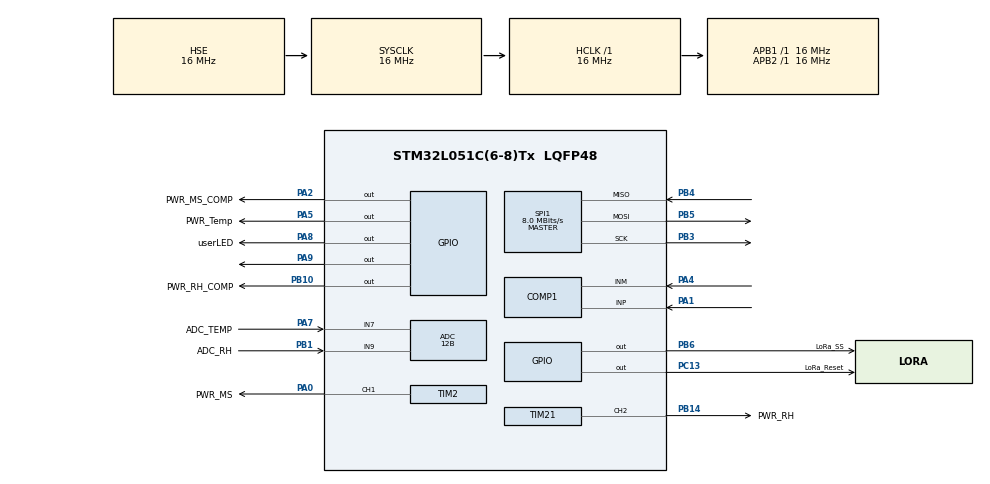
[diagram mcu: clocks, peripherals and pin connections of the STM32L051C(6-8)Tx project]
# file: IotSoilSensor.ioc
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ADC.ClockPrescaler=ADC_CLOCK_SYNC_PCLK_DIV1
ADC.ContinuousConvMode=DISABLE
ADC.DMAContinuousRequests=DISABLE
ADC.DataAlign=ADC_DATAALIGN_RIGHT
ADC.DiscontinuousConvMode=DISABLE
ADC.EOCSelection=ADC_EOC_SINGLE_CONV
ADC.EnableAnalogWatchDog=false
ADC.ExternalTrigConv=ADC_SOFTWARE_START
ADC.ExternalTrigConvEdge=ADC_EXTERNALTRIGCONVEDGE_NONE
ADC.LowPowerAutoPowerOff=DISABLE
ADC.LowPowerAutoWait=DISABLE
ADC.LowPowerFrequencyMode=DISABLE
ADC.Overrun=ADC_OVR_DATA_PRESERVED
ADC.OversamplingMode=DISABLE
ADC.Resolution=ADC_RESOLUTION_12B
ADC.SamplingTime=ADC_SAMPLETIME_79CYCLES_5
ADC.ScanConvMode=ADC_SCAN_DIRECTION_FORWARD
COMP1.LPTIMConnection=COMP_LPTIMCONNECTION_DISABLED
Mcu.Family=STM32L0
Mcu.Name=STM32L051C(6-8)Tx
Mcu.Package=LQFP48
NVIC.ADC1_COMP_IRQn=true\:0\:0\:false\:false\:true\:true
NVIC.RTC_IRQn=true\:0\:0\:false\:false\:true\:true
PA0.GPIO_Label=PWR_MS
PA0.Signal=S_TIM2_CH1
PA1.Mode=INP
PA1.Signal=COMP1_INP
PA13.Mode=Serial_Wire
PA13.Signal=SYS_SWDIO
PA14.Mode=Serial_Wire
PA14.Signal=SYS_SWCLK
PA2.GPIO_Label=PWR_MS_COMP
PA2.Signal=GPIO_Output
PA4.Mode=INM
PA4.Signal=COMP1_INM
PA5.GPIO_Label=PWR_Temp
PA5.Signal=GPIO_Output
PA7.GPIO_Label=ADC_TEMP
PA7.Mode=IN7
PA7.Signal=ADC_IN7
PA8.GPIO_Label=userLED
PA8.Signal=GPIO_Output
PA9.Signal=GPIO_Output
PB1.GPIO_Label=ADC_RH
PB1.Mode=IN9
PB1.Signal=ADC_IN9
PB10.GPIO_Label=PWR_RH_COMP
PB10.Signal=GPIO_Output
PB14.GPIO_Label=PWR_RH
PB14.Signal=S_TIM21_CH2
PB3.Mode=Full_Duplex_Master
PB3.Signal=SPI1_SCK
PB4.Mode=Full_Duplex_Master
PB4.Signal=SPI1_MISO
PB5.Mode=Full_Duplex_Master
PB5.Signal=SPI1_MOSI
PB6.GPIO_Label=LoRa_SS
PB6.Signal=GPIO_Output
PC13.GPIO_Label=LoRa_Reset
PC13.Signal=GPIO_Output
PH0-OSC_IN.Mode=HSE-External-Oscillator
PH0-OSC_IN.Signal=RCC_OSC_IN
PH1-OSC_OUT.Mode=HSE-External-Oscillator
PH1-OSC_OUT.Signal=RCC_OSC_OUT
ProjectManager.HeapSize=0x200
ProjectManager.StackSize=0x400
ProjectManager.TargetToolchain=TrueSTUDIO
RCC.AHBFreq_Value=16000000
RCC.APB1Freq_Value=16000000
RCC.APB1TimFreq_Value=16000000
RCC.APB2Freq_Value=16000000
RCC.APB2TimFreq_Value=16000000
RCC.HCLKFreq_Value=16000000
RCC.HSE_VALUE=16000000
RCC.HSI16_VALUE=16000000
RCC.HSI_VALUE=16000000
RCC.LSE_VALUE=32768
RCC.MSI_VALUE=2097000
RCC.SYSCLKFreq_VALUE=16000000
RCC.SYSCLKSource=RCC_SYSCLKSOURCE_HSE
RCC.VCOOutputFreq_Value=48000000
RTC.Alarm-Alarm\ A=RTC_ALARM_A
RTC.AlarmMaskDateWeekDay-Alarm\ A=RTC_ALARMMASK_DATEWEEKDAY
RTC.AlarmMaskHours-Alarm\ A=RTC_ALARMMASK_HOURS
RTC.AlarmMaskMinutes-Alarm\ A=RTC_ALARMMASK_MINUTES
RTC.AsynchPrediv=124
RTC.Hours_A-Alarm\ A=0
RTC.Minutes_A-Alarm\ A=1
RTC.Seconds_A-Alarm\ A=0
RTC.SynchPrediv=295
SH.S_TIM21_CH2.0=TIM21_CH2,Output Compare2 CH2
SH.S_TIM2_CH1.0=TIM2_CH1,Output Compare1 CH1
SPI1.CalculateBaudRate=8.0 MBits/s
SPI1.Direction=SPI_DIRECTION_2LINES
SPI1.Mode=SPI_MODE_MASTER
SPI1.VirtualType=VM_MASTER
TIM2.Channel-Output\ Compare1\ CH1=TIM_CHANNEL_1
TIM2.OCMode_1=TIM_OCMODE_TOGGLE
TIM2.OCPolarity_1=TIM_OCPOLARITY_LOW
TIM2.Period=60000
TIM2.Prescaler=1
TIM21.Channel-Output\ Compare2\ CH2=TIM_CHANNEL_2
TIM21.OCMode_2=TIM_OCMODE_TOGGLE
TIM21.OCPolarity_2=TIM_OCPOLARITY_LOW
TIM21.Period=32000
TIM21.Prescaler=63
TIM22.Period=32000
TIM22.Prescaler=63
TIM22.TIM_MasterOutputTrigger=TIM_TRGO_UPDATE
VP_RTC_VS_RTC_Activate.Mode=RTC_Enabled
VP_RTC_VS_RTC_Alarm_A_Intern.Mode=Alarm A
VP_RTC_VS_RTC_Calendar.Mode=RTC_Calendar
VP_TIM21_VS_ClockSourceINT.Mode=Internal
VP_TIM22_VS_ClockSourceINT.Mode=Internal
VP_TIM2_VS_ClockSourceINT.Mode=Internal
board=custom

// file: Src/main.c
/**
  ******************************************************************************
  * @file           : main.c
  * @brief          : Main program body
  ******************************************************************************
  ** This notice applies to any and all portions of this file
  * that are not between comment pairs USER CODE BEGIN and
  * USER CODE END. Other portions of this file, whether
  * inserted by the user or by software development tools
  * are owned by their respective copyright owners.
  *
  * COPYRIGHT(c) 2018 STMicroelectronics
  *
  * Redistribution and use in source and binary forms, with or without modification,
  * are permitted provided that the following conditions are met:
  *   1. Redistributions of source code must retain the above copyright notice,
  *      this list of conditions and the following disclaimer.
  *   2. Redistributions in binary form must reproduce the above copyright notice,
  *      this list of conditions and the following disclaimer in the documentation
  *      and/or other materials provided with the distribution.
  *   3. Neither the name of STMicroelectronics nor the names of its contributors
  *      may be used to endorse or promote products derived from this software
  *      without specific prior written permission.
  *
  * THIS SOFTWARE IS PROVIDED BY THE COPYRIGHT HOLDERS AND CONTRIBUTORS "AS IS"
  * AND ANY EXPRESS OR IMPLIED WARRANTIES, INCLUDING, BUT NOT LIMITED TO, THE
  * IMPLIED WARRANTIES OF MERCHANTABILITY AND FITNESS FOR A PARTICULAR PURPOSE ARE
  * DISCLAIMED. IN NO EVENT SHALL THE COPYRIGHT HOLDER OR CONTRIBUTORS BE LIABLE
  * FOR ANY DIRECT, INDIRECT, INCIDENTAL, SPECIAL, EXEMPLARY, OR CONSEQUENTIAL
  * DAMAGES (INCLUDING, BUT NOT LIMITED TO, PROCUREMENT OF SUBSTITUTE GOODS OR
  * SERVICES; LOSS OF USE, DATA, OR PROFITS; OR BUSINESS INTERRUPTION) HOWEVER
  * CAUSED AND ON ANY THEORY OF LIABILITY, WHETHER IN CONTRACT, STRICT LIABILITY,
  * OR TORT (INCLUDING NEGLIGENCE OR OTHERWISE) ARISING IN ANY WAY OUT OF THE USE
  * OF THIS SOFTWARE, EVEN IF ADVISED OF THE POSSIBILITY OF SUCH DAMAGE.
  *
  ******************************************************************************
  */
#include "main.h"
#include "stm32l0xx_hal.h"

/* USER CODE BEGIN Includes */
#include "NTC.h"
#include "HR202.h"
#include "SX1278.h"
#include "RA01.h"
#include "MoistureSensor.h"

/* USER CODE END Includes */

ADC_HandleTypeDef hadc;

COMP_HandleTypeDef hcomp1;

RTC_HandleTypeDef hrtc;

SPI_HandleTypeDef hspi1;

TIM_HandleTypeDef htim2;
TIM_HandleTypeDef htim21;
TIM_HandleTypeDef htim22;

/* USER CODE BEGIN PV */
/* Private variables ---------------------------------------------------------*/

/* USER CODE END PV */

void SystemClock_Config(void);
static void MX_GPIO_Init(void);
static void MX_SPI1_Init(void);
static void MX_COMP1_Init(void);
static void MX_ADC_Init(void);
static void MX_TIM21_Init(void);
static void MX_TIM2_Init(void);
static void MX_TIM22_Init(void);
static void MX_RTC_Init(void);

void HAL_TIM_MspPostInit(TIM_HandleTypeDef *htim);

/* USER CODE BEGIN PFP */
/* Private function prototypes -----------------------------------------------*/

/* USER CODE END PFP */

int main(void)
{

  /* MCU Configuration----------------------------------------------------------*/

  /* Reset of all peripherals, Initializes the Flash interface and the Systick. */
  HAL_Init();

  /* Configure the system clock */
  SystemClock_Config();

  /* Initialize all configured peripherals */
  MX_GPIO_Init();
  MX_SPI1_Init();
  MX_COMP1_Init();
  MX_ADC_Init();
  MX_TIM21_Init();
  MX_TIM2_Init();
  MX_TIM22_Init();
  MX_RTC_Init();
  /* USER CODE BEGIN 2 */

  // Init All
  ADC_calibrate();
  MS_init();
  NTC_init();
  HR202_init();

  SX1278_t LoRa;
  SX1278_hw_t LoRaHW;
  LoRa_init(&LoRa, &LoRaHW);

  uint16_t message_nb = 0;

  /* USER CODE END 2 */

  /* Infinite loop */
  /* USER CODE BEGIN WHILE */
  while (1)
  {
	    GPIO_userLed_on();

	    // variable containing the payload
		uint8_t txsend[PAYLOAD_SIZE];
		uint32_t rh_value, temperature_value, MS_value;

		// Get values from sensors
		temperature_value = NTC_getTemp();
		MS_value = MS_getMS();
		rh_value = HR202_getRH();

		// Sort values into bytes in order to send them
		LoRa_parsePayload(txsend, temperature_value, MS_value, rh_value, message_nb);

		// Send data via Lora
		SX1278_LoRaEntryTx(&LoRa, PAYLOAD_SIZE, 2000);
		SX1278_LoRaTxPacket(&LoRa, (uint8_t *) txsend, PAYLOAD_SIZE, 2000);

		// Put LoRa module to sleep
		SX1278_sleep(&LoRa);

		// Increment message nb
		message_nb++;

	    GPIO_userLed_off();

		// get into stop mode
	    SCB->SCR |= SCB_SCR_SLEEPDEEP_Msk; // low-power mode = stop mode
		PWR->CR &= ~PWR_CR_PDDS;
		PWR->CSR &= ~(PWR_CSR_WUF);

		// Select MSI as stop clock
		RCC->CFGR &= ~(RCC_CFGR_STOPWUCK);

		__WFI();

  /* USER CODE END WHILE */

  }

}

void SystemClock_Config(void)
{

  RCC_OscInitTypeDef RCC_OscInitStruct;
  RCC_ClkInitTypeDef RCC_ClkInitStruct;
  RCC_PeriphCLKInitTypeDef PeriphClkInit;

    /**Configure the main internal regulator output voltage
    */
  __HAL_PWR_VOLTAGESCALING_CONFIG(PWR_REGULATOR_VOLTAGE_SCALE1);

    /**Initializes the CPU, AHB and APB busses clocks
    */
  RCC_OscInitStruct.OscillatorType = RCC_OSCILLATORTYPE_LSI|RCC_OSCILLATORTYPE_HSE;
  RCC_OscInitStruct.HSEState = RCC_HSE_ON;
  RCC_OscInitStruct.LSIState = RCC_LSI_ON;
  RCC_OscInitStruct.PLL.PLLState = RCC_PLL_NONE;
  if (HAL_RCC_OscConfig(&RCC_OscInitStruct) != HAL_OK)
  {
    _Error_Handler(__FILE__, __LINE__);
  }

    /**Initializes the CPU, AHB and APB busses clocks
    */
  RCC_ClkInitStruct.ClockType = RCC_CLOCKTYPE_HCLK|RCC_CLOCKTYPE_SYSCLK
                              |RCC_CLOCKTYPE_PCLK1|RCC_CLOCKTYPE_PCLK2;
  RCC_ClkInitStruct.SYSCLKSource = RCC_SYSCLKSOURCE_HSE;
  RCC_ClkInitStruct.AHBCLKDivider = RCC_SYSCLK_DIV1;
  RCC_ClkInitStruct.APB1CLKDivider = RCC_HCLK_DIV1;
  RCC_ClkInitStruct.APB2CLKDivider = RCC_HCLK_DIV1;

  if (HAL_RCC_ClockConfig(&RCC_ClkInitStruct, FLASH_LATENCY_0) != HAL_OK)
  {
    _Error_Handler(__FILE__, __LINE__);
  }

  PeriphClkInit.PeriphClockSelection = RCC_PERIPHCLK_RTC;
  PeriphClkInit.RTCClockSelection = RCC_RTCCLKSOURCE_LSI;
  if (HAL_RCCEx_PeriphCLKConfig(&PeriphClkInit) != HAL_OK)
  {
    _Error_Handler(__FILE__, __LINE__);
  }

    /**Configure the Systick interrupt time
    */
  HAL_SYSTICK_Config(HAL_RCC_GetHCLKFreq()/1000);

    /**Configure the Systick
    */
  HAL_SYSTICK_CLKSourceConfig(SYSTICK_CLKSOURCE_HCLK);

  /* SysTick_IRQn interrupt configuration */
  HAL_NVIC_SetPriority(SysTick_IRQn, 0, 0);
}

/* ADC init function */
static void MX_ADC_Init(void)
{

  ADC_ChannelConfTypeDef sConfig;

    /**Configure the global features of the ADC (Clock, Resolution, Data Alignment and number of conversion)
    */
  hadc.Instance = ADC1;
  hadc.Init.OversamplingMode = DISABLE;
  hadc.Init.ClockPrescaler = ADC_CLOCK_SYNC_PCLK_DIV1;
  hadc.Init.Resolution = ADC_RESOLUTION_12B;
  hadc.Init.SamplingTime = ADC_SAMPLETIME_79CYCLES_5;
  hadc.Init.ScanConvMode = ADC_SCAN_DIRECTION_FORWARD;
  hadc.Init.DataAlign = ADC_DATAALIGN_RIGHT;
  hadc.Init.ContinuousConvMode = DISABLE;
  hadc.Init.DiscontinuousConvMode = DISABLE;
  hadc.Init.ExternalTrigConvEdge = ADC_EXTERNALTRIGCONVEDGE_NONE;
  hadc.Init.ExternalTrigConv = ADC_SOFTWARE_START;
  hadc.Init.DMAContinuousRequests = DISABLE;
  hadc.Init.EOCSelection = ADC_EOC_SINGLE_CONV;
  hadc.Init.Overrun = ADC_OVR_DATA_PRESERVED;
  hadc.Init.LowPowerAutoWait = DISABLE;
  hadc.Init.LowPowerFrequencyMode = DISABLE;
  hadc.Init.LowPowerAutoPowerOff = DISABLE;
  if (HAL_ADC_Init(&hadc) != HAL_OK)
  {
    _Error_Handler(__FILE__, __LINE__);
  }

    /**Configure for the selected ADC regular channel to be converted.
    */
  sConfig.Channel = ADC_CHANNEL_7;
  sConfig.Rank = ADC_RANK_CHANNEL_NUMBER;
  if (HAL_ADC_ConfigChannel(&hadc, &sConfig) != HAL_OK)
  {
    _Error_Handler(__FILE__, __LINE__);
  }

    /**Configure for the selected ADC regular channel to be converted.
    */
  sConfig.Channel = ADC_CHANNEL_9;
  if (HAL_ADC_ConfigChannel(&hadc, &sConfig) != HAL_OK)
  {
    _Error_Handler(__FILE__, __LINE__);
  }

}

/* COMP1 init function */
static void MX_COMP1_Init(void)
{

  hcomp1.Instance = COMP1;
  hcomp1.Init.InvertingInput = COMP_INPUT_MINUS_DAC1_CH1;
  hcomp1.Init.NonInvertingInput = COMP_INPUT_PLUS_IO1;
  hcomp1.Init.LPTIMConnection = COMP_LPTIMCONNECTION_DISABLED;
  hcomp1.Init.OutputPol = COMP_OUTPUTPOL_NONINVERTED;
  hcomp1.Init.Mode = COMP_POWERMODE_ULTRALOWPOWER;
  hcomp1.Init.WindowMode = COMP_WINDOWMODE_DISABLE;
  hcomp1.Init.TriggerMode = COMP_TRIGGERMODE_NONE;
  if (HAL_COMP_Init(&hcomp1) != HAL_OK)
  {
    _Error_Handler(__FILE__, __LINE__);
  }

}

/* RTC init function */
static void MX_RTC_Init(void)
{

  RTC_TimeTypeDef sTime;
  RTC_DateTypeDef sDate;
  RTC_AlarmTypeDef sAlarm;

    /**Initialize RTC Only
    */
  hrtc.Instance = RTC;
  hrtc.Init.HourFormat = RTC_HOURFORMAT_24;
  hrtc.Init.AsynchPrediv = 124;
  hrtc.Init.SynchPrediv = 295;
  hrtc.Init.OutPut = RTC_OUTPUT_DISABLE;
  hrtc.Init.OutPutRemap = RTC_OUTPUT_REMAP_NONE;
  hrtc.Init.OutPutPolarity = RTC_OUTPUT_POLARITY_HIGH;
  hrtc.Init.OutPutType = RTC_OUTPUT_TYPE_OPENDRAIN;
  if (HAL_RTC_Init(&hrtc) != HAL_OK)
  {
    _Error_Handler(__FILE__, __LINE__);
  }

    /**Initialize RTC and set the Time and Date
    */
  sTime.Hours = 0x0;
  sTime.Minutes = 0x0;
  sTime.Seconds = 0x0;
  sTime.DayLightSaving = RTC_DAYLIGHTSAVING_NONE;
  sTime.StoreOperation = RTC_STOREOPERATION_RESET;
  if (HAL_RTC_SetTime(&hrtc, &sTime, RTC_FORMAT_BCD) != HAL_OK)
  {
    _Error_Handler(__FILE__, __LINE__);
  }

  sDate.WeekDay = RTC_WEEKDAY_MONDAY;
  sDate.Month = RTC_MONTH_JANUARY;
  sDate.Date = 0x1;
  sDate.Year = 0x0;

  if (HAL_RTC_SetDate(&hrtc, &sDate, RTC_FORMAT_BCD) != HAL_OK)
  {
    _Error_Handler(__FILE__, __LINE__);
  }

    /**Enable the Alarm A
    */
  sAlarm.AlarmTime.Hours = 0x0;
  sAlarm.AlarmTime.Minutes = 0x1;
  sAlarm.AlarmTime.Seconds = 0x0;
  sAlarm.AlarmTime.SubSeconds = 0x0;
  sAlarm.AlarmTime.DayLightSaving = RTC_DAYLIGHTSAVING_NONE;
  sAlarm.AlarmTime.StoreOperation = RTC_STOREOPERATION_RESET;
  sAlarm.AlarmMask = RTC_ALARMMASK_DATEWEEKDAY|RTC_ALARMMASK_HOURS
                              |RTC_ALARMMASK_MINUTES;
  sAlarm.AlarmSubSecondMask = RTC_ALARMSUBSECONDMASK_ALL;
  sAlarm.AlarmDateWeekDaySel = RTC_ALARMDATEWEEKDAYSEL_DATE;
  sAlarm.AlarmDateWeekDay = 0x1;
  sAlarm.Alarm = RTC_ALARM_A;
  if (HAL_RTC_SetAlarm_IT(&hrtc, &sAlarm, RTC_FORMAT_BCD) != HAL_OK)
  {
    _Error_Handler(__FILE__, __LINE__);
  }

}

/* SPI1 init function */
static void MX_SPI1_Init(void)
{

  /* SPI1 parameter configuration*/
  hspi1.Instance = SPI1;
  hspi1.Init.Mode = SPI_MODE_MASTER;
  hspi1.Init.Direction = SPI_DIRECTION_2LINES;
  hspi1.Init.DataSize = SPI_DATASIZE_8BIT;
  hspi1.Init.CLKPolarity = SPI_POLARITY_LOW;
  hspi1.Init.CLKPhase = SPI_PHASE_1EDGE;
  hspi1.Init.NSS = SPI_NSS_SOFT;
  hspi1.Init.BaudRatePrescaler = SPI_BAUDRATEPRESCALER_2;
  hspi1.Init.FirstBit = SPI_FIRSTBIT_MSB;
  hspi1.Init.TIMode = SPI_TIMODE_DISABLE;
  hspi1.Init.CRCCalculation = SPI_CRCCALCULATION_DISABLE;
  hspi1.Init.CRCPolynomial = 7;
  if (HAL_SPI_Init(&hspi1) != HAL_OK)
  {
    _Error_Handler(__FILE__, __LINE__);
  }

}

/* TIM2 init function */
static void MX_TIM2_Init(void)
{

  TIM_ClockConfigTypeDef sClockSourceConfig;
  TIM_MasterConfigTypeDef sMasterConfig;
  TIM_OC_InitTypeDef sConfigOC;

  htim2.Instance = TIM2;
  htim2.Init.Prescaler = 1;
  htim2.Init.CounterMode = TIM_COUNTERMODE_UP;
  htim2.Init.Period = 60000;
  htim2.Init.ClockDivision = TIM_CLOCKDIVISION_DIV1;
  if (HAL_TIM_Base_Init(&htim2) != HAL_OK)
  {
    _Error_Handler(__FILE__, __LINE__);
  }

  sClockSourceConfig.ClockSource = TIM_CLOCKSOURCE_INTERNAL;
  if (HAL_TIM_ConfigClockSource(&htim2, &sClockSourceConfig) != HAL_OK)
  {
    _Error_Handler(__FILE__, __LINE__);
  }

  if (HAL_TIM_OC_Init(&htim2) != HAL_OK)
  {
    _Error_Handler(__FILE__, __LINE__);
  }

  sMasterConfig.MasterOutputTrigger = TIM_TRGO_RESET;
  sMasterConfig.MasterSlaveMode = TIM_MASTERSLAVEMODE_DISABLE;
  if (HAL_TIMEx_MasterConfigSynchronization(&htim2, &sMasterConfig) != HAL_OK)
  {
    _Error_Handler(__FILE__, __LINE__);
  }

  sConfigOC.OCMode = TIM_OCMODE_TOGGLE;
  sConfigOC.Pulse = 0;
  sConfigOC.OCPolarity = TIM_OCPOLARITY_LOW;
  sConfigOC.OCFastMode = TIM_OCFAST_DISABLE;
  if (HAL_TIM_OC_ConfigChannel(&htim2, &sConfigOC, TIM_CHANNEL_1) != HAL_OK)
  {
    _Error_Handler(__FILE__, __LINE__);
  }

  HAL_TIM_MspPostInit(&htim2);

}

/* TIM21 init function */
static void MX_TIM21_Init(void)
{

  TIM_ClockConfigTypeDef sClockSourceConfig;
  TIM_MasterConfigTypeDef sMasterConfig;
  TIM_OC_InitTypeDef sConfigOC;

  htim21.Instance = TIM21;
  htim21.Init.Prescaler = 63;
  htim21.Init.CounterMode = TIM_COUNTERMODE_UP;
  htim21.Init.Period = 32000;
  htim21.Init.ClockDivision = TIM_CLOCKDIVISION_DIV1;
  if (HAL_TIM_Base_Init(&htim21) != HAL_OK)
  {
    _Error_Handler(__FILE__, __LINE__);
  }

  sClockSourceConfig.ClockSource = TIM_CLOCKSOURCE_INTERNAL;
  if (HAL_TIM_ConfigClockSource(&htim21, &sClockSourceConfig) != HAL_OK)
  {
    _Error_Handler(__FILE__, __LINE__);
  }

  if (HAL_TIM_OC_Init(&htim21) != HAL_OK)
  {
    _Error_Handler(__FILE__, __LINE__);
  }

  sMasterConfig.MasterOutputTrigger = TIM_TRGO_RESET;
  sMasterConfig.MasterSlaveMode = TIM_MASTERSLAVEMODE_DISABLE;
  if (HAL_TIMEx_MasterConfigSynchronization(&htim21, &sMasterConfig) != HAL_OK)
  {
    _Error_Handler(__FILE__, __LINE__);
  }

  sConfigOC.OCMode = TIM_OCMODE_TOGGLE;
  sConfigOC.Pulse = 0;
  sConfigOC.OCPolarity = TIM_OCPOLARITY_LOW;
  sConfigOC.OCFastMode = TIM_OCFAST_DISABLE;
  if (HAL_TIM_OC_ConfigChannel(&htim21, &sConfigOC, TIM_CHANNEL_2) != HAL_OK)
  {
    _Error_Handler(__FILE__, __LINE__);
  }

  HAL_TIM_MspPostInit(&htim21);

}

/* TIM22 init function */
static void MX_TIM22_Init(void)
{

  TIM_ClockConfigTypeDef sClockSourceConfig;
  TIM_MasterConfigTypeDef sMasterConfig;

  htim22.Instance = TIM22;
  htim22.Init.Prescaler = 63;
  htim22.Init.CounterMode = TIM_COUNTERMODE_UP;
  htim22.Init.Period = 32000;
  htim22.Init.ClockDivision = TIM_CLOCKDIVISION_DIV1;
  if (HAL_TIM_Base_Init(&htim22) != HAL_OK)
  {
    _Error_Handler(__FILE__, __LINE__);
  }

  sClockSourceConfig.ClockSource = TIM_CLOCKSOURCE_INTERNAL;
  if (HAL_TIM_ConfigClockSource(&htim22, &sClockSourceConfig) != HAL_OK)
  {
    _Error_Handler(__FILE__, __LINE__);
  }

  sMasterConfig.MasterOutputTrigger = TIM_TRGO_UPDATE;
  sMasterConfig.MasterSlaveMode = TIM_MASTERSLAVEMODE_DISABLE;
  if (HAL_TIMEx_MasterConfigSynchronization(&htim22, &sMasterConfig) != HAL_OK)
  {
    _Error_Handler(__FILE__, __LINE__);
  }

}

/** Configure pins as
        * Analog
        * Input
        * Output
        * EVENT_OUT
        * EXTI
*/
static void MX_GPIO_Init(void)
{

  GPIO_InitTypeDef GPIO_InitStruct;

  /* GPIO Ports Clock Enable */
  __HAL_RCC_GPIOC_CLK_ENABLE();
  __HAL_RCC_GPIOH_CLK_ENABLE();
  __HAL_RCC_GPIOA_CLK_ENABLE();
  __HAL_RCC_GPIOB_CLK_ENABLE();

  /*Configure GPIO pin Output Level */
  HAL_GPIO_WritePin(LoRa_Reset_GPIO_Port, LoRa_Reset_Pin, GPIO_PIN_RESET);

  /*Configure GPIO pin Output Level */
  HAL_GPIO_WritePin(GPIOA, PWR_MS_COMP_Pin|PWR_Temp_Pin|userLED_Pin|GPIO_PIN_9, GPIO_PIN_RESET);

  /*Configure GPIO pin Output Level */
  HAL_GPIO_WritePin(GPIOB, PWR_RH_COMP_Pin|LoRa_SS_Pin, GPIO_PIN_RESET);

  /*Configure GPIO pin : LoRa_Reset_Pin */
  GPIO_InitStruct.Pin = LoRa_Reset_Pin;
  GPIO_InitStruct.Mode = GPIO_MODE_OUTPUT_PP;
  GPIO_InitStruct.Pull = GPIO_NOPULL;
  GPIO_InitStruct.Speed = GPIO_SPEED_FREQ_LOW;
  HAL_GPIO_Init(LoRa_Reset_GPIO_Port, &GPIO_InitStruct);

  /*Configure GPIO pins : PWR_MS_COMP_Pin PWR_Temp_Pin userLED_Pin PA9 */
  GPIO_InitStruct.Pin = PWR_MS_COMP_Pin|PWR_Temp_Pin|userLED_Pin|GPIO_PIN_9;
  GPIO_InitStruct.Mode = GPIO_MODE_OUTPUT_PP;
  GPIO_InitStruct.Pull = GPIO_NOPULL;
  GPIO_InitStruct.Speed = GPIO_SPEED_FREQ_LOW;
  HAL_GPIO_Init(GPIOA, &GPIO_InitStruct);

  /*Configure GPIO pins : PWR_RH_COMP_Pin LoRa_SS_Pin */
  GPIO_InitStruct.Pin = PWR_RH_COMP_Pin|LoRa_SS_Pin;
  GPIO_InitStruct.Mode = GPIO_MODE_OUTPUT_PP;
  GPIO_InitStruct.Pull = GPIO_NOPULL;
  GPIO_InitStruct.Speed = GPIO_SPEED_FREQ_LOW;
  HAL_GPIO_Init(GPIOB, &GPIO_InitStruct);

}

/* USER CODE BEGIN 4 */

void HAL_RTC_AlarmAEventCallback(RTC_HandleTypeDef *hrtc)
{

}

/* USER CODE END 4 */

void _Error_Handler(char *file, int line)
{
  /* USER CODE BEGIN Error_Handler_Debug */
	UNUSED(file);
	UNUSED(line);
  /* User can add his own implementation to report the HAL error return state */
  while(1)
  {
  }
  /* USER CODE END Error_Handler_Debug */
}

/************************ (C) COPYRIGHT STMicroelectronics *****END OF FILE****/
